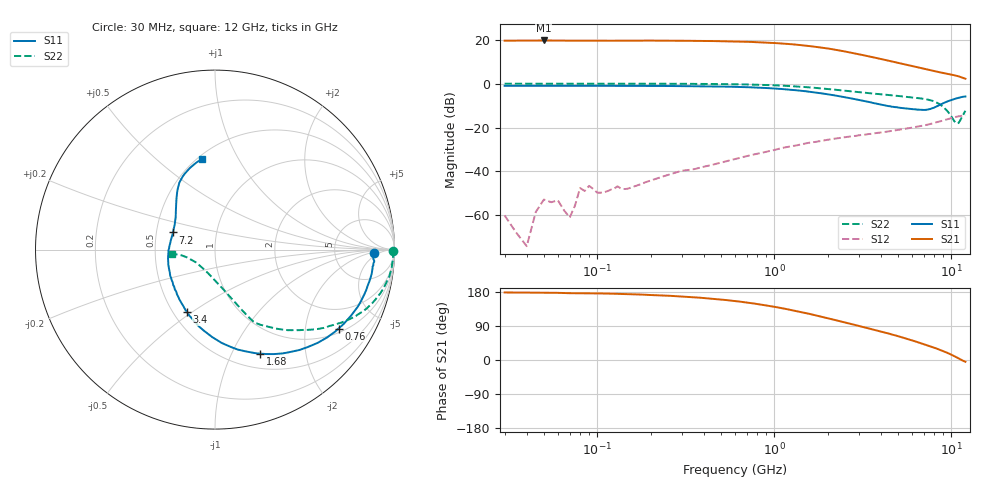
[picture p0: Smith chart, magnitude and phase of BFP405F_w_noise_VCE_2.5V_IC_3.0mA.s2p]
! Infineon Technologies  Discrete & RF Semiconductors
! BFP405F
! VCE =  2.5 V,  IC =  3.0 mA
! Common Emitter S-Parameters:  Nov 2015
# GHz  S  MA  R  50
!  f  S11  S21  S12  S22
! GHz  MAG  ANG  MAG  ANG  MAG  ANG  MAG  ANG
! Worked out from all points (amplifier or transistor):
!   239 points, 30 MHz to 12 GHz, reference 50 ohm
!   highest |S21| = 19.6 dB at 50 MHz (marker M1)
!   |S21| within 3 dB of that: start of sweep to 1.743 GHz
!   unconditionally stable (mu >= 1): 3.52 GHz to end of sweep
!   at 300 MHz: K = 0.12, MSG = 29.6 dB, |S12| = -39.7 dB
!   at 1.88 GHz: K = 0.49, MSG = 21.1 dB, |S12| = -25.9 dB
!   at 12 GHz: K = 1.56, MAG = 3.9 dB, |S12| = -14.4 dB
!   lowest NFmin = 1.11 dB at 450 MHz
!   S11 on the Smith chart (normalised r, x): 30 MHz: 16, -3; 760 MHz: 1.14, -3.03; 1.68 GHz: 0.67, -1.30; 3.4 GHz: 0.59, -0.48; 7.2 GHz: 0.61, +0.12; 12 GHz: 0.53, +0.72
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0.03  0.8863 -1.2  9.447 178.2  0.001 -38.1  0.9941 -0.6
0.04  0.8853 -1.5  9.463 178.1  0.0002 175.8  0.9942 -0.9
0.045  0.8853 -1.9  9.508 177.7  0.0012 101.7  0.9936 -0.9
0.05  0.8854 -2.3  9.553 177.4  0.0023 96.9  0.9931 -1.0
0.06  0.8886 -2.5  9.455 177.2  0.0022 153.2  0.9927 -1.1
0.07  0.8827 -3.0  9.489 176.3  0.0009 -129.1  0.9972 -1.5
0.08  0.8834 -3.4  9.431 176.0  0.0042 36.2  0.9951 -1.6
0.085  0.8864 -3.7  9.446 176.1  0.0036 74.3  0.9939 -1.8
0.14  0.8829 -6.2  9.463 174.5  0.004 101.5  0.9936 -3.0
0.24  0.8806 -10.6  9.414 170.1  0.0079 88.9  0.9902 -5.2
0.4  0.8665 -17.5  9.314 163.5  0.0128 84.1  0.983 -8.6
0.6  0.8424 -26.0  9.051 155.5  0.0192 78.6  0.9636 -12.8
0.76  0.8168 -32.6  8.807 149.4  0.0241 76.7  0.9453 -15.9
1.2  0.7312 -49.9  7.963 133.4  0.0366 67.8  0.8807 -23.8
1.64  0.6398 -65.3  6.992 120.0  0.0462 62.8  0.8089 -30.3
1.68  0.6326 -66.5  6.897 118.9  0.0467 62.3  0.802 -30.8
2.2  0.5361 -83.2  5.895 105.5  0.0559 56.2  0.7247 -37.6
3.4  0.3808 -114.1  4.172 83.5  0.071 49.2  0.6061 -47.8
4.5  0.305 -139.8  3.252 68.9  0.0824 46.1  0.5459 -53.2
7.2  0.2523 157.8  2.106 39.6  0.1141 41.1  0.4372 -62.7
10.8  0.4649 109.4  1.485 6.0  0.1772 27.2  0.1232 -132.1
12  0.5075 98.3  1.286 -4.7  0.1903 21.6  0.2407 -174.8
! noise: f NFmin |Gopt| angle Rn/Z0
0.45  1.11  0.5  6  0.37
0.9  1.12  0.47  14  0.41
1.5  1.21  0.44  20  0.35
1.9  1.25  0.42  27  0.35
2.4  1.43  0.39  37  0.36
3  1.5  0.37  47  0.33
3.5  1.54  0.36  57  0.31
4.5  1.72  0.3  73  0.26
5.5  1.97  0.19  88  0.16
